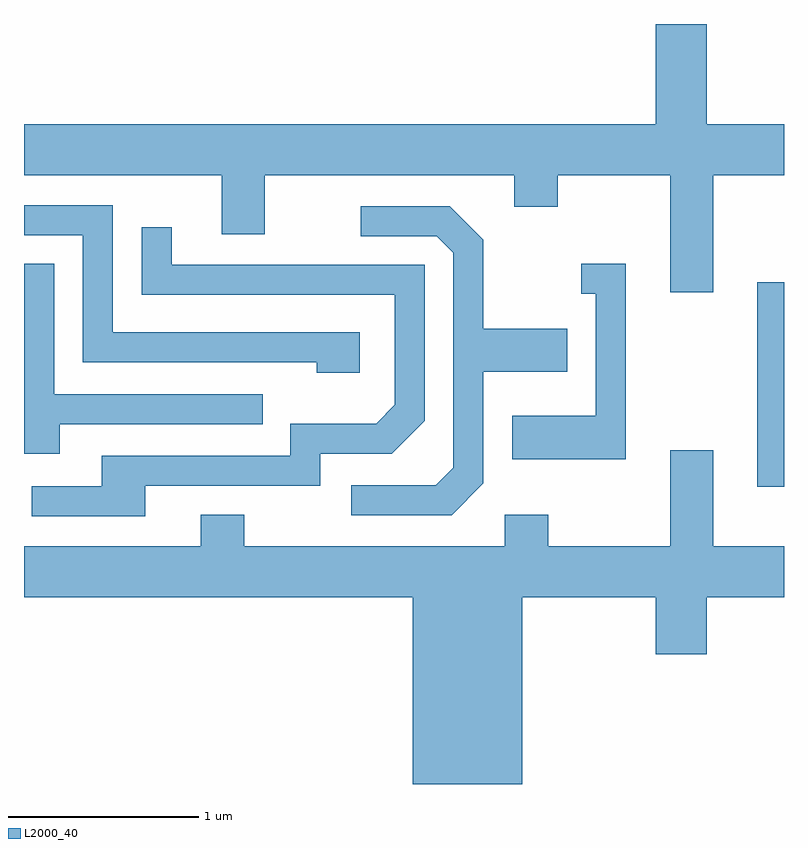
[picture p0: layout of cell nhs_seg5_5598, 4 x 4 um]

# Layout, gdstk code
import gdstk
lib = gdstk.Library(unit=1e-6, precision=1e-09)
def R(c, l, rs):  # rectangles x0, y0, x1, y1
    for r in rs: c.add(gdstk.rectangle(r[:2], r[2:], *l))
def P(c, l, *ps):  # polygons
    for p in ps: c.add(gdstk.Polygon(p, *l))
L2000_40 = (2000, 40)

nhs_seg5_5598 = lib.new_cell('nhs_seg5_5598')
R(nhs_seg5_5598, L2000_40, [(355.471,1419.636,355.611,1420.714)])
P(nhs_seg5_5598, L2000_40, [(355.239,1421.276),(355.611,1421.276),(355.611,1421.544),(355.204,1421.544),(355.204,1422.072),(354.936,1422.072),(354.936,1421.544),(351.611,1421.544),(351.611,1421.276),(352.651,1421.276),(352.651,1420.966),(352.879,1420.966),(352.879,1421.276),(354.191,1421.276),(354.191,1421.111),(354.419,1421.111),(354.419,1421.276),(355.011,1421.276),(355.011,1420.661),(355.239,1420.661)],
  [(353.379,1420.449),(352.079,1420.449),(352.079,1421.119),(351.611,1421.119),(351.611,1420.961),(351.921,1420.961),(351.921,1420.291),(353.151,1420.291),(353.151,1420.236),(353.379,1420.236)],
  [(354.029,1419.654),(354.029,1420.241),(354.469,1420.241),(354.469,1420.469),(354.029,1420.469),(354.029,1420.937),(353.852,1421.114),(353.383,1421.114),(353.383,1420.956),(353.784,1420.956),(353.871,1420.869),(353.871,1419.737),(353.779,1419.644),(353.333,1419.644),(353.333,1419.486),(353.862,1419.486)],
  [(352.249,1419.641),(353.169,1419.641),(353.169,1419.811),(353.547,1419.811),(353.719,1419.984),(353.719,1420.804),(352.389,1420.804),(352.389,1421.003),(352.231,1421.003),(352.231,1420.646),(353.561,1420.646),(353.561,1420.067),(353.464,1419.969),(353.011,1419.969),(353.011,1419.799),(352.021,1419.799),(352.021,1419.639),(351.653,1419.639),(351.653,1419.481),(352.249,1419.481)],
  [(351.799,1419.966),(352.868,1419.966),(352.868,1420.124),(351.769,1420.124),(351.769,1420.809),(351.611,1420.809),(351.611,1419.811),(351.799,1419.811)],
  [(354.779,1420.809),(354.543,1420.809),(354.543,1420.651),(354.621,1420.651),(354.621,1420.009),(354.181,1420.009),(354.181,1419.781),(354.779,1419.781)],
  [(354.234,1419.056),(354.936,1419.056),(354.936,1418.756),(355.204,1418.756),(355.204,1419.056),(355.611,1419.056),(355.611,1419.324),(355.239,1419.324),(355.239,1419.829),(355.011,1419.829),(355.011,1419.324),(354.369,1419.324),(354.369,1419.489),(354.141,1419.489),(354.141,1419.324),(352.769,1419.324),(352.769,1419.489),(352.541,1419.489),(352.541,1419.324),(351.611,1419.324),(351.611,1419.056),(353.656,1419.056),(353.656,1418.072),(354.234,1418.072)])

lib.write_gds('nhs_seg5_5598.gds')
